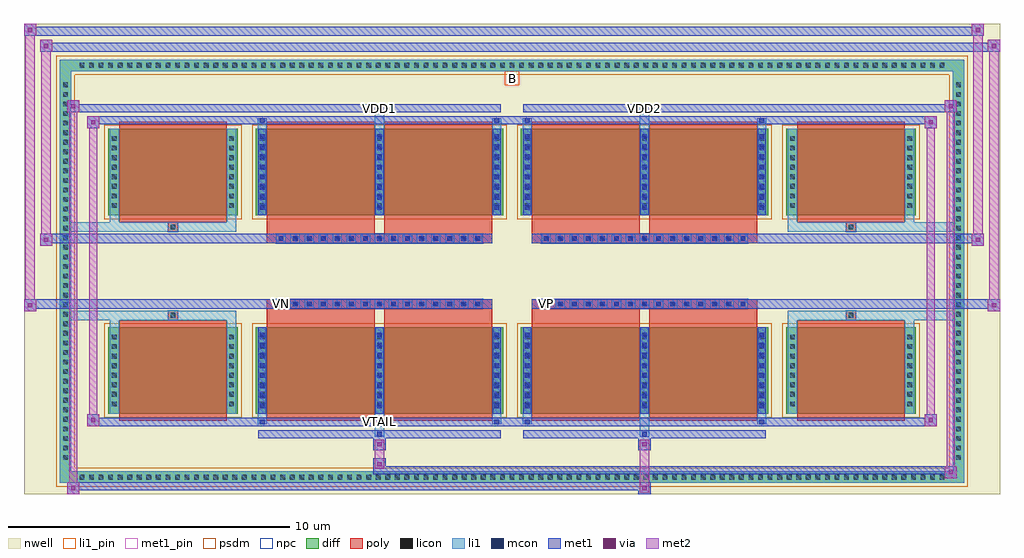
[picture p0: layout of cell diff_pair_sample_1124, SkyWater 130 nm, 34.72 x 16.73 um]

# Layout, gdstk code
import gdstk
lib = gdstk.Library(unit=1e-6, precision=5e-09)
def R(c, l, rs):  # rectangles x0, y0, x1, y1
    for r in rs: c.add(gdstk.rectangle(r[:2], r[2:], *l))
def A(c, l, x, y, w, h, nx, ny, dx, dy):  # array of equal rectangles
    R(c, l, [(x+i*dx, y+j*dy, x+i*dx+w, y+j*dy+h) for i in range(nx) for j in range(ny)])
def P(c, l, *ps):  # polygons
    for p in ps: c.add(gdstk.Polygon(p, *l))
nwell = (64, 20)
diff = (65, 20)
poly = (66, 20)
licon = (66, 44)
li1_pin = (67, 16)
li1 = (67, 20)
mcon = (67, 44)
met1_pin = (68, 16)
met1 = (68, 20)
via = (68, 44)
met2 = (69, 20)
psdm = (94, 20)
npc = (95, 20)

diff_pair_sample_1124 = lib.new_cell('diff_pair_sample_1124')
R(diff_pair_sample_1124, nwell, [(-17.36,-7.93,17.36,8.8), (-14.68,-6.12,-0.01,-0.8), (0.01,-6.12,14.68,-0.8), (-14.68,0.8,-0.01,6.12), (0.01,0.8,14.68,6.12)])
A(diff_pair_sample_1124, diff, -15.505, -7.53, 0.41, 0.41, 91, 2, 0.34, 14.65)
A(diff_pair_sample_1124, diff, -16.09, -6.835, 0.41, 0.41, 1, 40, 0, 0.34)
A(diff_pair_sample_1124, diff, 15.68, -6.835, 0.41, 0.41, 1, 40, 0, 0.34)
R(diff_pair_sample_1124, diff, [(-15.505,-7.53,15.505,-7.12), (-16.09,-6.835,-15.68,6.835), (15.68,-6.835,16.09,6.835), (-14.37,-5.075,-9.75,-1.985), (-9.11,-5.075,-0.32,-1.985), (0.32,-5.075,9.11,-1.985), (9.75,-5.075,14.37,-1.985), (-14.37,1.985,-9.75,5.075), (-9.11,1.985,-0.32,5.075), (0.32,1.985,9.11,5.075), (9.75,1.985,14.37,5.075), (-15.505,7.12,15.505,7.53)])
P(diff_pair_sample_1124, diff, [(16.09,7.53),(-16.09,7.53),(-16.09,-7.12),(-15.68,-7.12),(-15.68,7.12),(15.68,7.12),(15.68,-7.12),(-15.68,-7.12),(-16.09,-7.12),(-16.09,-7.53),(16.09,-7.53)])
A(diff_pair_sample_1124, poly, -8.38, -1.33, 0.33, 0.33, 15, 2, 0.5, 2.33)
A(diff_pair_sample_1124, poly, 1.05, -1.33, 0.33, 0.33, 15, 2, 0.5, 2.33)
R(diff_pair_sample_1124, poly, [(-13.98,-5.325,-10.14,-1.735), (-8.72,-5.325,-4.88,-1.735), (-4.55,-5.325,-0.71,-1.735), (0.71,-5.325,4.55,-1.735), (4.88,-5.325,8.72,-1.735), (10.14,-5.325,13.98,-1.735), (-12.225,-1.735,-11.895,-1.405), (-12.225,-1.735,-11.895,-1.405), (-8.72,-1.735,-4.88,-1.33), (-4.55,-1.735,-0.71,-1.33), (0.71,-1.735,4.55,-1.33), (4.88,-1.735,8.72,-1.33), (11.895,-1.735,12.225,-1.405), (11.895,-1.735,12.225,-1.405), (-8.72,-1.33,-0.71,-1), (0.71,-1.33,8.72,-1), (-8.72,1,-0.71,1.33), (0.71,1,8.72,1.33), (-8.72,1.33,-4.88,1.735), (-4.55,1.33,-0.71,1.735), (0.71,1.33,4.55,1.735), (4.88,1.33,8.72,1.735), (-12.225,1.405,-11.895,1.735), (-12.225,1.405,-11.895,1.735), (11.895,1.405,12.225,1.735), (11.895,1.405,12.225,1.735), (-13.98,1.735,-10.14,5.325), (-8.72,1.735,-4.88,5.325), (-4.55,1.735,-0.71,5.325), (0.71,1.735,4.55,5.325), (4.88,1.735,8.72,5.325), (10.14,1.735,13.98,5.325)])
A(diff_pair_sample_1124, licon, -15.385, -7.41, 0.17, 0.17, 91, 2, 0.34, 14.65)
A(diff_pair_sample_1124, licon, -15.97, -6.715, 0.17, 0.17, 1, 40, 0, 0.34)
A(diff_pair_sample_1124, licon, 15.8, -6.715, 0.17, 0.17, 1, 40, 0, 0.34)
A(diff_pair_sample_1124, licon, -14.23, -4.805, 0.17, 0.17, 1, 8, 0, 0.34)
A(diff_pair_sample_1124, licon, -10.06, -4.805, 0.17, 0.17, 1, 8, 0, 0.34)
A(diff_pair_sample_1124, licon, -8.97, -4.805, 0.17, 0.17, 3, 8, 4.17, 0.34)
A(diff_pair_sample_1124, licon, 0.46, -4.805, 0.17, 0.17, 3, 8, 4.17, 0.34)
A(diff_pair_sample_1124, licon, 9.89, -4.805, 0.17, 0.17, 1, 8, 0, 0.34)
A(diff_pair_sample_1124, licon, 14.06, -4.805, 0.17, 0.17, 1, 8, 0, 0.34)
A(diff_pair_sample_1124, licon, -8.3, -1.25, 0.17, 0.17, 15, 2, 0.5, 2.33)
A(diff_pair_sample_1124, licon, 1.13, -1.25, 0.17, 0.17, 15, 2, 0.5, 2.33)
A(diff_pair_sample_1124, licon, -14.23, 2.255, 0.17, 0.17, 1, 8, 0, 0.34)
A(diff_pair_sample_1124, licon, -10.06, 2.255, 0.17, 0.17, 1, 8, 0, 0.34)
A(diff_pair_sample_1124, licon, -8.97, 2.255, 0.17, 0.17, 3, 8, 4.17, 0.34)
A(diff_pair_sample_1124, licon, 0.46, 2.255, 0.17, 0.17, 3, 8, 4.17, 0.34)
A(diff_pair_sample_1124, licon, 9.89, 2.255, 0.17, 0.17, 1, 8, 0, 0.34)
A(diff_pair_sample_1124, licon, 14.06, 2.255, 0.17, 0.17, 1, 8, 0, 0.34)
R(diff_pair_sample_1124, licon, [(-12.145,-1.655,-11.975,-1.485), (11.975,-1.655,12.145,-1.485), (-12.145,1.485,-11.975,1.655), (11.975,1.485,12.145,1.655)])
R(diff_pair_sample_1124, li1_pin, [(-0.25,6.62,0.25,7.12)])
A(diff_pair_sample_1124, li1, -15.465, -7.49, 0.33, 0.33, 91, 2, 0.34, 14.65)
A(diff_pair_sample_1124, li1, -16.05, -6.795, 0.33, 0.33, 1, 40, 0, 0.34)
A(diff_pair_sample_1124, li1, 15.72, -6.795, 0.33, 0.33, 1, 40, 0, 0.34)
A(diff_pair_sample_1124, li1, -9.05, -5.075, 0.33, 3.09, 3, 2, 4.17, 7.06)
A(diff_pair_sample_1124, li1, 0.38, -5.075, 0.33, 3.09, 3, 2, 4.17, 7.06)
A(diff_pair_sample_1124, li1, -14.31, -4.885, 0.33, 0.33, 1, 8, 0, 0.34)
A(diff_pair_sample_1124, li1, -10.14, -4.885, 0.33, 0.33, 1, 8, 0, 0.34)
A(diff_pair_sample_1124, li1, -9.05, -4.885, 0.33, 0.33, 3, 8, 4.17, 0.34)
A(diff_pair_sample_1124, li1, 0.38, -4.885, 0.33, 0.33, 3, 8, 4.17, 0.34)
A(diff_pair_sample_1124, li1, 9.81, -4.885, 0.33, 0.33, 1, 8, 0, 0.34)
A(diff_pair_sample_1124, li1, 13.98, -4.885, 0.33, 0.33, 1, 8, 0, 0.34)
A(diff_pair_sample_1124, li1, -8.97, -4.875, 0.17, 0.17, 3, 8, 4.17, 0.36)
A(diff_pair_sample_1124, li1, -8.97, -4.875, 0.17, 2.69, 3, 2, 4.17, 7.06)
A(diff_pair_sample_1124, li1, 0.46, -4.875, 0.17, 0.17, 3, 8, 4.17, 0.36)
A(diff_pair_sample_1124, li1, 0.46, -4.875, 0.17, 2.69, 3, 2, 4.17, 7.06)
A(diff_pair_sample_1124, li1, -8.38, -1.33, 0.33, 0.33, 15, 2, 0.5, 2.33)
A(diff_pair_sample_1124, li1, 1.05, -1.33, 0.33, 0.33, 15, 2, 0.5, 2.33)
A(diff_pair_sample_1124, li1, -14.31, 2.175, 0.33, 0.33, 1, 8, 0, 0.34)
A(diff_pair_sample_1124, li1, -10.14, 2.175, 0.33, 0.33, 1, 8, 0, 0.34)
A(diff_pair_sample_1124, li1, -9.05, 2.175, 0.33, 0.33, 3, 8, 4.17, 0.34)
A(diff_pair_sample_1124, li1, 0.38, 2.175, 0.33, 0.33, 3, 8, 4.17, 0.34)
A(diff_pair_sample_1124, li1, 9.81, 2.175, 0.33, 0.33, 1, 8, 0, 0.34)
A(diff_pair_sample_1124, li1, 13.98, 2.175, 0.33, 0.33, 1, 8, 0, 0.34)
A(diff_pair_sample_1124, li1, -8.97, 2.185, 0.17, 0.17, 3, 8, 4.17, 0.36)
A(diff_pair_sample_1124, li1, 0.46, 2.185, 0.17, 0.17, 3, 8, 4.17, 0.36)
R(diff_pair_sample_1124, li1, [(-16.09,-7.53,-15.68,-7.12), (-16.09,-7.53,-15.68,-7.12), (-15.68,-7.53,15.68,-7.12), (15.68,-7.53,16.09,-7.12), (15.68,-7.53,16.09,-7.12), (-16.09,-7.12,-15.68,7.12), (15.68,-7.12,16.09,7.12), (-4.88,-5.88,-4.55,-5.075), (-4.8,-5.88,-4.63,-5.71), (4.55,-5.88,4.88,-5.075), (4.63,-5.88,4.8,-5.71), (-9.05,-5.45,-8.72,-5.075), (-8.97,-5.45,-8.8,-5.28), (-0.71,-5.45,-0.38,-5.075), (-0.63,-5.45,-0.46,-5.28), (0.38,-5.45,0.71,-5.075), (0.46,-5.45,0.63,-5.28), (8.72,-5.45,9.05,-5.075), (8.8,-5.45,8.97,-5.28), (-14.31,-5.075,-13.98,-1.985), (-10.14,-5.075,-9.81,-1.985), (9.81,-5.075,10.14,-1.985), (13.98,-5.075,14.31,-1.985), (-14.31,-1.985,-13.98,-1.405), (-10.14,-1.985,-9.81,-1.405), (9.81,-1.985,10.14,-1.405), (13.98,-1.985,14.31,-1.405), (-16.09,-1.735,-12.225,-1.405), (-14.31,-1.735,-12.225,-1.405), (-12.225,-1.735,-11.895,-1.405), (-11.895,-1.735,-9.81,-1.405), (9.81,-1.735,11.895,-1.405), (11.895,-1.735,12.225,-1.405), (11.895,-1.735,16.09,-1.405), (12.225,-1.735,14.31,-1.405), (-16.09,1.405,-12.225,1.735), (-14.31,1.405,-12.225,1.735), (-14.31,1.405,-13.98,1.985), (-12.225,1.405,-11.895,1.735), (-11.895,1.405,-9.81,1.735), (-10.14,1.405,-9.81,1.985), (9.81,1.405,11.895,1.735), (9.81,1.405,10.14,1.985), (11.895,1.405,12.225,1.735), (11.895,1.405,16.09,1.735), (12.225,1.405,14.31,1.735), (13.98,1.405,14.31,1.985), (-14.31,1.985,-13.98,5.075), (-10.14,1.985,-9.81,5.075), (9.81,1.985,10.14,5.075), (13.98,1.985,14.31,5.075), (-9.05,5.075,-8.72,5.45), (-4.88,5.075,-4.55,5.88), (-0.71,5.075,-0.38,5.45), (0.38,5.075,0.71,5.45), (4.55,5.075,4.88,5.88), (8.72,5.075,9.05,5.45), (-8.97,5.28,-8.8,5.45), (-0.63,5.28,-0.46,5.45), (0.46,5.28,0.63,5.45), (8.8,5.28,8.97,5.45), (-4.8,5.71,-4.63,5.88), (4.63,5.71,4.8,5.88), (-16.09,7.12,-15.68,7.53), (-16.09,7.12,-15.68,7.53), (-15.68,7.12,15.68,7.53), (15.68,7.12,16.09,7.53), (15.68,7.12,16.09,7.53)])
A(diff_pair_sample_1124, mcon, -8.97, -4.875, 0.17, 0.17, 3, 8, 4.17, 0.36)
A(diff_pair_sample_1124, mcon, 0.46, -4.875, 0.17, 0.17, 3, 8, 4.17, 0.36)
A(diff_pair_sample_1124, mcon, -8.3, -1.25, 0.17, 0.17, 15, 2, 0.5, 2.33)
A(diff_pair_sample_1124, mcon, 1.13, -1.25, 0.17, 0.17, 15, 2, 0.5, 2.33)
A(diff_pair_sample_1124, mcon, -8.97, 2.185, 0.17, 0.17, 3, 8, 4.17, 0.36)
A(diff_pair_sample_1124, mcon, 0.46, 2.185, 0.17, 0.17, 3, 8, 4.17, 0.36)
R(diff_pair_sample_1124, mcon, [(-4.8,-5.88,-4.63,-5.71), (4.63,-5.88,4.8,-5.71), (-8.97,-5.45,-8.8,-5.28), (-0.63,-5.45,-0.46,-5.28), (0.46,-5.45,0.63,-5.28), (8.8,-5.45,8.97,-5.28), (-8.97,5.28,-8.8,5.45), (-0.63,5.28,-0.46,5.45), (0.46,5.28,0.63,5.45), (8.8,5.28,8.97,5.45), (-4.8,5.71,-4.63,5.88), (4.63,5.71,4.8,5.88)])
R(diff_pair_sample_1124, met1_pin, [(-4.85,-5.49,-4.58,-5.22), (-8.35,-1.29,-8.08,-1.02), (1.08,-1.29,1.35,-1.02), (-4.85,5.67,-4.58,5.94), (4.58,5.67,4.85,5.94)])
A(diff_pair_sample_1124, met1, -9.03, -5.075, 0.29, 3.09, 3, 2, 4.17, 7.06)
A(diff_pair_sample_1124, met1, 0.4, -5.075, 0.29, 3.09, 3, 2, 4.17, 7.06)
A(diff_pair_sample_1124, met1, -9.03, -4.935, 0.29, 0.29, 3, 8, 4.17, 0.36)
A(diff_pair_sample_1124, met1, 0.4, -4.935, 0.29, 0.29, 3, 8, 4.17, 0.36)
A(diff_pair_sample_1124, met1, -8.36, -1.31, 0.29, 0.29, 15, 2, 0.5, 2.33)
A(diff_pair_sample_1124, met1, 1.07, -1.31, 0.29, 0.29, 15, 2, 0.5, 2.33)
A(diff_pair_sample_1124, met1, -9.03, 2.125, 0.29, 0.29, 3, 8, 4.17, 0.36)
A(diff_pair_sample_1124, met1, 0.4, 2.125, 0.29, 0.29, 3, 8, 4.17, 0.36)
R(diff_pair_sample_1124, met1, [(-15.82,-7.93,-15.39,-7.5), (4.5,-7.93,4.93,-7.5), (-15.82,-7.79,4.93,-7.5), (15.39,-7.36,15.82,-6.93), (-4.93,-7.22,15.82,-6.93), (-4.93,-7.08,-4.5,-6.65), (-4.93,-6.37,-4.5,-5.94), (4.5,-6.37,4.93,-5.94), (-9.03,-5.94,-0.4,-5.65), (-4.86,-5.94,-4.57,-5.65), (0.4,-5.94,9.03,-5.65), (4.57,-5.94,4.86,-5.65), (-15.11,-5.51,-14.68,-5.08), (-15.11,-5.51,-9.03,-5.22), (-9.03,-5.51,-8.74,-5.22), (-9.03,-5.51,-0.4,-5.22), (-0.69,-5.51,-0.4,-5.22), (-0.4,-5.51,0.4,-5.22), (0.4,-5.51,0.69,-5.22), (0.4,-5.51,9.03,-5.22), (8.74,-5.51,9.03,-5.22), (9.03,-5.51,15.11,-5.22), (14.68,-5.51,15.11,-5.08), (-17.36,-1.43,-16.93,-1), (16.93,-1.43,17.36,-1), (-17.36,-1.33,-0.71,-1), (-8.72,-1.33,-0.71,-1), (0.71,-1.33,8.72,-1), (0.71,-1.33,17.36,-1), (-16.79,0.9,-16.36,1.33), (16.36,0.9,16.79,1.33), (-16.79,1,-8.72,1.33), (-8.72,1,-0.71,1.33), (0.71,1,8.72,1.33), (8.72,1,16.79,1.33), (-15.11,5.08,-14.68,5.51), (14.68,5.08,15.11,5.51), (-15.11,5.22,-9.03,5.51), (-9.03,5.22,-8.74,5.51), (-9.03,5.22,-0.4,5.51), (-0.69,5.22,-0.4,5.51), (-0.4,5.22,0.4,5.51), (0.4,5.22,0.69,5.51), (0.4,5.22,9.03,5.51), (8.74,5.22,9.03,5.51), (9.03,5.22,15.11,5.51), (-15.82,5.65,-15.39,6.08), (-15.82,5.65,-9.03,5.94), (-9.03,5.65,-0.4,5.94), (-4.86,5.65,-4.57,5.94), (0.4,5.65,9.03,5.94), (4.57,5.65,4.86,5.94), (9.03,5.65,15.82,5.94), (15.39,5.65,15.82,6.08), (-16.79,7.8,-16.36,8.23), (-16.79,7.8,-14.68,8.13), (-14.68,7.8,14.68,8.13), (14.68,7.8,17.36,8.13), (16.93,7.8,17.36,8.23), (-17.36,8.37,-16.93,8.8), (-17.36,8.37,-14.68,8.7), (-14.68,8.37,14.68,8.7), (14.68,8.37,16.79,8.7), (16.36,8.37,16.79,8.8)])
R(diff_pair_sample_1124, via, [(-15.68,-7.79,-15.53,-7.64), (4.64,-7.79,4.79,-7.64), (15.53,-7.22,15.68,-7.07), (-4.79,-6.94,-4.64,-6.79), (-4.79,-6.23,-4.64,-6.08), (4.64,-6.23,4.79,-6.08), (-14.97,-5.37,-14.82,-5.22), (14.82,-5.37,14.97,-5.22), (-17.22,-1.29,-17.07,-1.14), (17.07,-1.29,17.22,-1.14), (-16.65,1.04,-16.5,1.19), (16.5,1.04,16.65,1.19), (-14.97,5.22,-14.82,5.37), (14.82,5.22,14.97,5.37), (-15.68,5.79,-15.53,5.94), (15.53,5.79,15.68,5.94), (-16.65,7.94,-16.5,8.09), (17.07,7.94,17.22,8.09), (-17.22,8.51,-17.07,8.66), (16.5,8.51,16.65,8.66)])
R(diff_pair_sample_1124, met2, [(-15.82,-7.93,-15.39,-7.5), (-15.75,-7.93,-15.46,6.08), (-15.46,-7.93,-15.39,-7.5), (-15.77,-7.88,-15.44,-7.55), (4.55,-7.88,4.88,-7.55), (4.55,-7.55,4.88,-6.32), (15.39,-7.36,15.82,-6.93), (15.46,-7.36,15.75,6.08), (15.75,-7.36,15.82,-6.93), (15.44,-7.31,15.77,-6.98), (-4.88,-7.03,-4.55,-6.7), (-4.88,-6.7,-4.55,-6.32), (-4.88,-6.32,-4.55,-5.99), (4.55,-6.32,4.88,-5.99), (-15.11,-5.51,-14.68,-5.08), (-15.04,-5.51,-14.75,5.51), (-14.75,-5.51,-14.68,-5.08), (14.68,-5.51,15.11,-5.08), (14.75,-5.51,15.04,5.51), (15.04,-5.51,15.11,-5.08), (-15.06,-5.46,-14.73,-5.13), (14.73,-5.46,15.06,-5.13), (-17.36,-1.43,-16.93,-1), (-17.31,-1.43,-16.98,8.8), (-16.98,-1.43,-16.93,-1), (16.93,-1.43,17.36,-1), (16.98,-1.43,17.31,8.23), (17.31,-1.43,17.36,-1), (-17.31,-1.38,-16.98,-1.05), (16.98,-1.38,17.31,-1.05), (-16.79,0.9,-16.36,1.33), (-16.74,0.9,-16.41,8.23), (-16.41,0.9,-16.36,1.33), (16.36,0.9,16.79,1.33), (16.41,0.9,16.74,8.8), (16.74,0.9,16.79,1.33), (-16.74,0.95,-16.41,1.28), (16.41,0.95,16.74,1.28), (-15.11,5.08,-14.68,5.51), (-14.75,5.08,-14.68,5.51), (14.68,5.08,15.11,5.51), (15.04,5.08,15.11,5.51), (-15.06,5.13,-14.73,5.46), (14.73,5.13,15.06,5.46), (-15.82,5.65,-15.39,6.08), (-15.46,5.65,-15.39,6.08), (15.39,5.65,15.82,6.08), (15.75,5.65,15.82,6.08), (-15.77,5.7,-15.44,6.03), (15.44,5.7,15.77,6.03), (-16.79,7.8,-16.36,8.23), (-16.41,7.8,-16.36,8.23), (16.93,7.8,17.36,8.23), (17.31,7.8,17.36,8.23), (-16.74,7.85,-16.41,8.18), (16.98,7.85,17.31,8.18), (-17.36,8.37,-16.93,8.8), (-16.98,8.37,-16.93,8.8), (16.36,8.37,16.79,8.8), (16.74,8.37,16.79,8.8), (-17.31,8.42,-16.98,8.75), (16.41,8.42,16.74,8.75)])
R(diff_pair_sample_1124, psdm, [(-14.5,-5.205,-9.62,-1.855), (-9.24,-5.205,-0.19,-1.855), (0.19,-5.205,9.24,-1.855), (9.62,-5.205,14.5,-1.855), (-14.5,1.855,-9.62,5.205), (-9.24,1.855,-0.19,5.205), (0.19,1.855,9.24,5.205), (9.62,1.855,14.5,5.205)])
P(diff_pair_sample_1124, psdm, [(16.22,7.66),(-16.22,7.66),(-16.22,-6.99),(-15.55,-6.99),(-15.55,6.99),(15.55,6.99),(15.55,-6.99),(-15.55,-6.99),(-16.22,-6.99),(-16.22,-7.66),(16.22,-7.66)])
A(diff_pair_sample_1124, npc, -8.4, -1.35, 0.37, 0.37, 15, 2, 0.5, 2.33)
A(diff_pair_sample_1124, npc, 1.03, -1.35, 0.37, 0.37, 15, 2, 0.5, 2.33)
R(diff_pair_sample_1124, npc, [(-12.245,-1.755,-11.875,-1.385), (11.875,-1.755,12.245,-1.385), (-8.4,-1.35,-7.53,-0.98), (-8.4,-1.35,-7.53,-0.98), (-7.9,-1.35,-7.03,-0.98), (-7.9,-1.35,-7.03,-0.98), (-7.4,-1.35,-6.53,-0.98), (-7.4,-1.35,-6.53,-0.98), (-6.9,-1.35,-6.03,-0.98), (-6.9,-1.35,-6.03,-0.98), (-6.4,-1.35,-5.53,-0.98), (-6.4,-1.35,-5.53,-0.98), (-5.9,-1.35,-5.03,-0.98), (-5.9,-1.35,-5.03,-0.98), (-5.4,-1.35,-4.53,-0.98), (-5.4,-1.35,-4.53,-0.98), (-4.9,-1.35,-4.03,-0.98), (-4.9,-1.35,-4.03,-0.98), (-4.4,-1.35,-3.53,-0.98), (-4.4,-1.35,-3.53,-0.98), (-3.9,-1.35,-3.03,-0.98), (-3.9,-1.35,-3.03,-0.98), (-3.4,-1.35,-2.53,-0.98), (-3.4,-1.35,-2.53,-0.98), (-2.9,-1.35,-2.03,-0.98), (-2.9,-1.35,-2.03,-0.98), (-2.4,-1.35,-1.53,-0.98), (-2.4,-1.35,-1.53,-0.98), (-1.9,-1.35,-1.03,-0.98), (-1.9,-1.35,-1.03,-0.98), (1.03,-1.35,1.9,-0.98), (1.03,-1.35,1.9,-0.98), (1.53,-1.35,2.4,-0.98), (1.53,-1.35,2.4,-0.98), (2.03,-1.35,2.9,-0.98), (2.03,-1.35,2.9,-0.98), (2.53,-1.35,3.4,-0.98), (2.53,-1.35,3.4,-0.98), (3.03,-1.35,3.9,-0.98), (3.03,-1.35,3.9,-0.98), (3.53,-1.35,4.4,-0.98), (3.53,-1.35,4.4,-0.98), (4.03,-1.35,4.9,-0.98), (4.03,-1.35,4.9,-0.98), (4.53,-1.35,5.4,-0.98), (4.53,-1.35,5.4,-0.98), (5.03,-1.35,5.9,-0.98), (5.03,-1.35,5.9,-0.98), (5.53,-1.35,6.4,-0.98), (5.53,-1.35,6.4,-0.98), (6.03,-1.35,6.9,-0.98), (6.03,-1.35,6.9,-0.98), (6.53,-1.35,7.4,-0.98), (6.53,-1.35,7.4,-0.98), (7.03,-1.35,7.9,-0.98), (7.03,-1.35,7.9,-0.98), (7.53,-1.35,8.4,-0.98), (7.53,-1.35,8.4,-0.98), (-8.4,0.98,-7.53,1.35), (-8.4,0.98,-7.53,1.35), (-7.9,0.98,-7.03,1.35), (-7.9,0.98,-7.03,1.35), (-7.4,0.98,-6.53,1.35), (-7.4,0.98,-6.53,1.35), (-6.9,0.98,-6.03,1.35), (-6.9,0.98,-6.03,1.35), (-6.4,0.98,-5.53,1.35), (-6.4,0.98,-5.53,1.35), (-5.9,0.98,-5.03,1.35), (-5.9,0.98,-5.03,1.35), (-5.4,0.98,-4.53,1.35), (-5.4,0.98,-4.53,1.35), (-4.9,0.98,-4.03,1.35), (-4.9,0.98,-4.03,1.35), (-4.4,0.98,-3.53,1.35), (-4.4,0.98,-3.53,1.35), (-3.9,0.98,-3.03,1.35), (-3.9,0.98,-3.03,1.35), (-3.4,0.98,-2.53,1.35), (-3.4,0.98,-2.53,1.35), (-2.9,0.98,-2.03,1.35), (-2.9,0.98,-2.03,1.35), (-2.4,0.98,-1.53,1.35), (-2.4,0.98,-1.53,1.35), (-1.9,0.98,-1.03,1.35), (-1.9,0.98,-1.03,1.35), (1.03,0.98,1.9,1.35), (1.03,0.98,1.9,1.35), (1.53,0.98,2.4,1.35), (1.53,0.98,2.4,1.35), (2.03,0.98,2.9,1.35), (2.03,0.98,2.9,1.35), (2.53,0.98,3.4,1.35), (2.53,0.98,3.4,1.35), (3.03,0.98,3.9,1.35), (3.03,0.98,3.9,1.35), (3.53,0.98,4.4,1.35), (3.53,0.98,4.4,1.35), (4.03,0.98,4.9,1.35), (4.03,0.98,4.9,1.35), (4.53,0.98,5.4,1.35), (4.53,0.98,5.4,1.35), (5.03,0.98,5.9,1.35), (5.03,0.98,5.9,1.35), (5.53,0.98,6.4,1.35), (5.53,0.98,6.4,1.35), (6.03,0.98,6.9,1.35), (6.03,0.98,6.9,1.35), (6.53,0.98,7.4,1.35), (6.53,0.98,7.4,1.35), (7.03,0.98,7.9,1.35), (7.03,0.98,7.9,1.35), (7.53,0.98,8.4,1.35), (7.53,0.98,8.4,1.35), (-12.245,1.385,-11.875,1.755), (11.875,1.385,12.245,1.755)])
diff_pair_sample_1124.add(gdstk.Label('VTAIL', (-4.715,-5.355), layer=68, texttype=5))
diff_pair_sample_1124.add(gdstk.Label('VN', (-8.215,-1.155), layer=68, texttype=5))
diff_pair_sample_1124.add(gdstk.Label('VP', (1.215,-1.155), layer=68, texttype=5))
diff_pair_sample_1124.add(gdstk.Label('B', (0,6.87), layer=67, texttype=5))
diff_pair_sample_1124.add(gdstk.Label('VDD2', (4.715,5.805), layer=68, texttype=5))
diff_pair_sample_1124.add(gdstk.Label('VDD1', (-4.715,5.805), layer=68, texttype=5))

lib.write_gds('diff_pair_sample_1124.gds')
